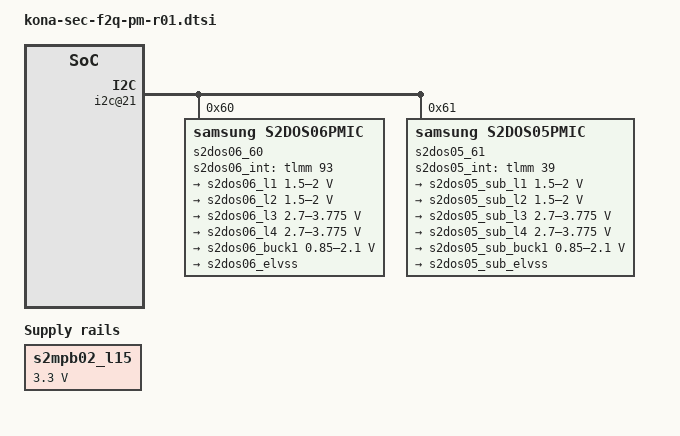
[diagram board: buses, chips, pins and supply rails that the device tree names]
/* Copyright (c) 2019, The Linux Foundation. All rights reserved.
 *
 * This program is free software; you can redistribute it and/or modify
 * it under the terms of the GNU General Public License version 2 and
 * only version 2 as published by the Free Software Foundation.
 *
 * This program is distributed in the hope that it will be useful,
 * but WITHOUT ANY WARRANTY; without even the implied warranty of
 * MERCHANTABILITY or FITNESS FOR A PARTICULAR PURPOSE.  See the
 * GNU General Public License for more details.
 */

&i2c21 {
	/delete-node/ s2dos05@61;
	/delete-node/ s2dos05@60;
};

&soc {
	i2c@21 {
		/* Main Display PMIC(S2DOS06), Slave Address:C0 */
		s2dos06_60: s2dos06@60 {
			compatible = "samsung,s2dos06pmic";
			reg = <0x60>;
			sec_disp_pmic_name = "disp_pmic";
			adc_mode = <2>; /* 0 : disable, 1 : current meter, 2 : power meter */
			adc_sync_mode = <2>; /* 1 : sync mode, 2 : async mode */

			pinctrl-names = "default";
			pinctrl-0 = <&s2dos06_irq_default>;
			s2dos06,s2dos06_int = <&tlmm 93 0>;

			regulators {
				s2dos06_l1: s2dos06-ldo1 {
					regulator-name = "s2dos06-ldo1";
					regulator-min-microvolt = <1500000>;
					regulator-max-microvolt = <2000000>;
					regulator-active-discharge = <1>;
				};

				s2dos06_l2: s2dos06-ldo2 {
					regulator-name = "s2dos06-ldo2";
					regulator-min-microvolt = <1500000>;
					regulator-max-microvolt = <2000000>;
					regulator-active-discharge = <1>;
				};

				s2dos06_l3: s2dos06-ldo3 {
					regulator-name = "s2dos06-ldo3";
					regulator-min-microvolt = <2700000>;
					regulator-max-microvolt = <3775000>;
					regulator-active-discharge = <1>;
				};

				s2dos06_l4: s2dos06-ldo4 {
					regulator-name = "s2dos06-ldo4";
					regulator-min-microvolt = <2700000>;
					regulator-max-microvolt = <3775000>;
					regulator-active-discharge = <1>;
				};

				s2dos06_buck1: s2dos06-buck1 {
					regulator-name = "s2dos06-buck1";
					regulator-min-microvolt = <850000>;
					regulator-max-microvolt = <2100000>;
					regulator-active-discharge = <1>;
				};

				s2dos06_elvss: s2dos06-elvss {
					regulator-name = "s2dos06-elvss";
				};
			};
		};

		/* Sub Display PMIC(S2DOS05 High-Z), Slave Address:C2 */
		s2dos05_61: s2dos05@61 {
			compatible = "samsung,s2dos05pmic";
			reg = <0x61>;
			sec_disp_pmic_name = "disp_pmic1";
			adc_mode = <2>; /* 0 : disable, 1 : current meter, 2 : power meter */
			adc_sync_mode = <2>; /* 1 : sync mode, 2 : async mode */

			pinctrl-names = "default";
			pinctrl-0 = <&s2dos05_irq_default>;
			s2dos05,s2dos05_int = <&tlmm 39 0>;

			regulators {
				s2dos05_sub_l1: s2dos05-ldo1 {
					regulator-name = "s2dos05_sub-ldo1";
					regulator-min-microvolt = <1500000>;
					regulator-max-microvolt = <2000000>;
					regulator-active-discharge = <1>;
				};

				s2dos05_sub_l2: s2dos05-ldo2 {
					regulator-name = "s2dos05_sub-ldo2";
					regulator-min-microvolt = <1500000>;
					regulator-max-microvolt = <2000000>;
					regulator-active-discharge = <1>;
				};

				s2dos05_sub_l3: s2dos05-ldo3 {
					regulator-name = "s2dos05_sub-ldo3";
					regulator-min-microvolt = <2700000>;
					regulator-max-microvolt = <3775000>;
					regulator-active-discharge = <1>;
				};

				s2dos05_sub_l4: s2dos05-ldo4 {
					regulator-name = "s2dos05_sub-ldo4";
					regulator-min-microvolt = <2700000>;
					regulator-max-microvolt = <3775000>;
					regulator-active-discharge = <1>;
				};

				s2dos05_sub_buck1: s2dos05-buck1 {
					regulator-name = "s2dos05_sub_buck1";
					regulator-min-microvolt = <850000>;
					regulator-max-microvolt = <2100000>;
					regulator-active-discharge = <1>;
				};

				s2dos05_sub_elvss: s2dos05-elvss {
					regulator-name = "s2dos05_sub-elvss";
				};
			};
		};
	};
};

&s2mpb02_l15 {
	regulator-min-microvolt = <3300000>;
	regulator-max-microvolt = <3300000>;
};
